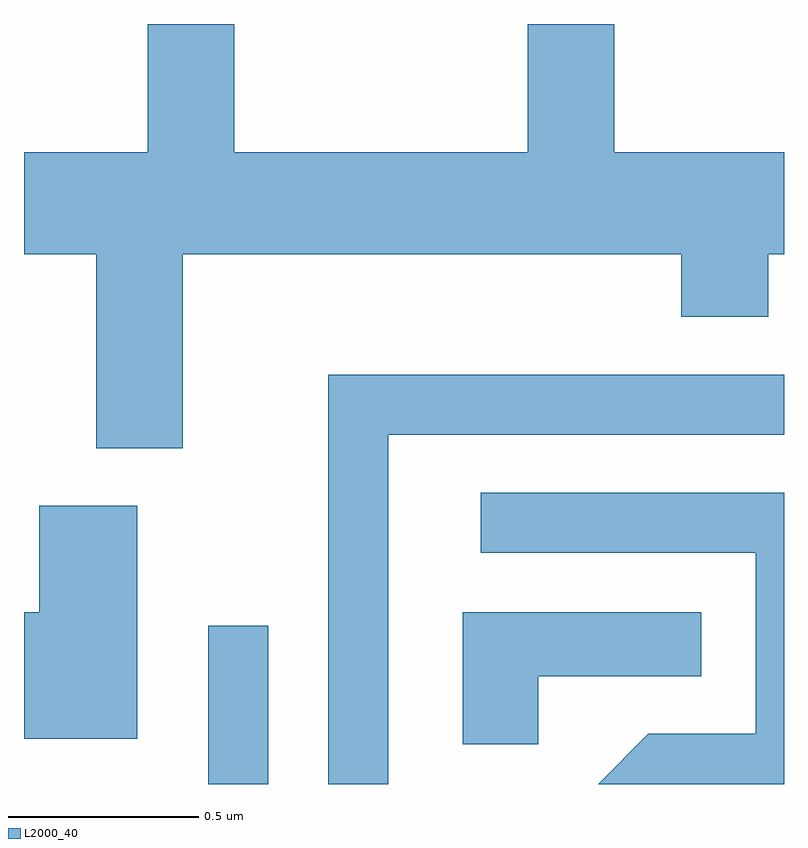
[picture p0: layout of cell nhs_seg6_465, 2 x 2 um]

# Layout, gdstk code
import gdstk
lib = gdstk.Library(unit=1e-6, precision=1e-09)
def R(c, l, rs):  # rectangles x0, y0, x1, y1
    for r in rs: c.add(gdstk.rectangle(r[:2], r[2:], *l))
def P(c, l, *ps):  # polygons
    for p in ps: c.add(gdstk.Polygon(p, *l))
L2000_40 = (2000, 40)

nhs_seg6_465 = lib.new_cell('nhs_seg6_465')
R(nhs_seg6_465, L2000_40, [(189.096,1584.162,189.254,1584.578)])
P(nhs_seg6_465, L2000_40, [(189.029,1585.556),(190.341,1585.556),(190.341,1585.391),(190.569,1585.391),(190.569,1585.556),(190.611,1585.556),(190.611,1585.824),(190.164,1585.824),(190.164,1586.162),(189.936,1586.162),(189.936,1585.824),(189.164,1585.824),(189.164,1586.162),(188.936,1586.162),(188.936,1585.824),(188.611,1585.824),(188.611,1585.556),(188.801,1585.556),(188.801,1585.046),(189.029,1585.046)],
  [(189.569,1585.081),(190.611,1585.081),(190.611,1585.239),(189.411,1585.239),(189.411,1584.162),(189.569,1584.162)],
  [(190.611,1584.929),(189.813,1584.929),(189.813,1584.771),(190.536,1584.771),(190.536,1584.294),(190.254,1584.294),(190.122,1584.162),(190.611,1584.162)],
  [(188.909,1584.894),(188.651,1584.894),(188.651,1584.614),(188.611,1584.614),(188.611,1584.281),(188.909,1584.281)],
  [(189.964,1584.446),(190.393,1584.446),(190.393,1584.614),(189.766,1584.614),(189.766,1584.266),(189.964,1584.266)])

lib.write_gds('nhs_seg6_465.gds')
